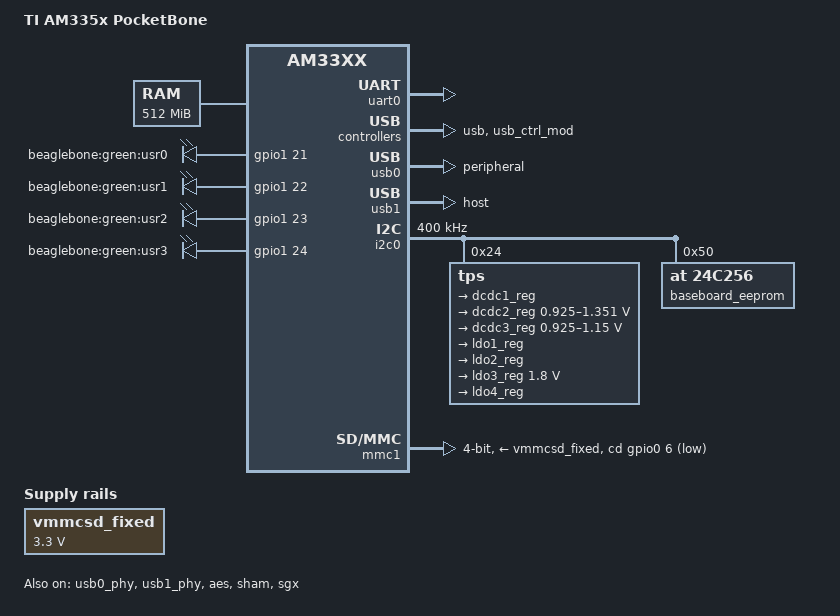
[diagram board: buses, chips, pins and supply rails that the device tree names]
/*
 * Copyright (C) 2012 Texas Instruments Incorporated - http://www.ti.com/
 *
 * This program is free software; you can redistribute it and/or modify
 * it under the terms of the GNU General Public License version 2 as
 * published by the Free Software Foundation.
 */
/dts-v1/;

#include "am33xx.dtsi"

/ {
	model = "TI AM335x PocketBone";
	compatible = "ti,am335x-pocketbone", "ti,am335x-bone", "ti,am33xx";
};

/ {
	cpus {
		cpu@0 {
			cpu0-supply = <&dcdc2_reg>;
		};
	};

	memory {
		device_type = "memory";
		reg = <0x80000000 0x20000000>; /* 512 MB */
	};

	leds {
		pinctrl-names = "default", "sleep";
		pinctrl-0 = <&user_leds_default>;
		pinctrl-1 = <&user_leds_sleep>;

		compatible = "gpio-leds";

		led@2 {
			label = "beaglebone:green:usr0";
			gpios = <&gpio1 21 GPIO_ACTIVE_HIGH>;
			linux,default-trigger = "heartbeat";
			default-state = "off";
		};

		led@3 {
			label = "beaglebone:green:usr1";
			gpios = <&gpio1 22 GPIO_ACTIVE_HIGH>;
			linux,default-trigger = "mmc0";
			default-state = "off";
		};

		led@4 {
			label = "beaglebone:green:usr2";
			gpios = <&gpio1 23 GPIO_ACTIVE_HIGH>;
			linux,default-trigger = "cpu0";
			default-state = "off";
		};

		led@5 {
			label = "beaglebone:green:usr3";
			gpios = <&gpio1 24 GPIO_ACTIVE_HIGH>;
			linux,default-trigger = "mmc1";
			default-state = "off";
		};
	};

	vmmcsd_fixed: fixedregulator@0 {
		compatible = "regulator-fixed";
		regulator-name = "vmmcsd_fixed";
		regulator-min-microvolt = <3300000>;
		regulator-max-microvolt = <3300000>;
	};
};

&am33xx_pinmux {
	user_leds_default: user_leds_default {
		pinctrl-single,pins = <
			AM33XX_IOPAD(0x854, PIN_OUTPUT_PULLDOWN | MUX_MODE7)	/* gpmc_a5.gpio1_21 */
			AM33XX_IOPAD(0x858, PIN_OUTPUT_PULLUP | MUX_MODE7)	/* gpmc_a6.gpio1_22 */
			AM33XX_IOPAD(0x85c, PIN_OUTPUT_PULLDOWN | MUX_MODE7)	/* gpmc_a7.gpio1_23 */
			AM33XX_IOPAD(0x860, PIN_OUTPUT_PULLUP | MUX_MODE7)	/* gpmc_a8.gpio1_24 */
		>;
	};

	user_leds_sleep: user_leds_sleep {
		pinctrl-single,pins = <
			AM33XX_IOPAD(0x854, PIN_INPUT_PULLDOWN | MUX_MODE7)	/* gpmc_a5.gpio1_21 */
			AM33XX_IOPAD(0x858, PIN_INPUT_PULLDOWN | MUX_MODE7)	/* gpmc_a6.gpio1_22 */
			AM33XX_IOPAD(0x85c, PIN_INPUT_PULLDOWN | MUX_MODE7)	/* gpmc_a7.gpio1_23 */
			AM33XX_IOPAD(0x860, PIN_INPUT_PULLDOWN | MUX_MODE7)	/* gpmc_a8.gpio1_24 */
		>;
	};

	i2c0_pins: pinmux_i2c0_pins {
		pinctrl-single,pins = <
			AM33XX_IOPAD(0x988, PIN_INPUT_PULLUP | MUX_MODE0)	/* i2c0_sda.i2c0_sda */
			AM33XX_IOPAD(0x98c, PIN_INPUT_PULLUP | MUX_MODE0)	/* i2c0_scl.i2c0_scl */
		>;
	};

	uart0_pins: pinmux_uart0_pins {
		pinctrl-single,pins = <
			AM33XX_IOPAD(0x970, PIN_INPUT_PULLUP | MUX_MODE0)	/* uart0_rxd.uart0_rxd */
			AM33XX_IOPAD(0x974, PIN_OUTPUT_PULLDOWN | MUX_MODE0)	/* uart0_txd.uart0_txd */
		>;
	};

	mmc1_pins: pinmux_mmc1_pins {
		pinctrl-single,pins = <
			AM33XX_IOPAD(0x960, PIN_INPUT | MUX_MODE7) /* GPIO0_6 */
		>;
	};
};

&uart0 {
	pinctrl-names = "default";
	pinctrl-0 = <&uart0_pins>;

	status = "okay";
};

&usb {
	status = "okay";
};

&usb_ctrl_mod {
	status = "okay";
};

&usb0_phy {
	status = "okay";
};

&usb1_phy {
	status = "okay";
};

&usb0 {
	status = "okay";
	dr_mode = "peripheral";
};

&usb1 {
	status = "okay";
	dr_mode = "host";
};

&cppi41dma  {
	status = "okay";
};

&i2c0 {
	pinctrl-names = "default";
	pinctrl-0 = <&i2c0_pins>;

	status = "okay";
	clock-frequency = <400000>;

	tps: tps@24 {
		reg = <0x24>;
	};

	baseboard_eeprom: baseboard_eeprom@50 {
		compatible = "at,24c256";
		reg = <0x50>;

		#address-cells = <1>;
		#size-cells = <1>;
		baseboard_data: baseboard_data@0 {
			reg = <0 0x100>;
		};
	};
};

/include/ "tps65217.dtsi"

&tps {
	/*
	 * Configure pmic to enter OFF-state instead of SLEEP-state ("RTC-only
	 * mode") at poweroff.  Most BeagleBone versions do not support RTC-only
	 * mode and risk hardware damage if this mode is entered.
	 *
	 * For details, see linux-omap mailing list May 2015 thread
	 *	[PATCH] ARM: dts: am335x-bone* enable pmic-shutdown-controller
	 * In particular, messages:
	 *	http://www.spinics.net/lists/linux-omap/msg118585.html
	 *	http://www.spinics.net/lists/linux-omap/msg118615.html
	 *
	 * You can override this later with
	 *	&tps {  /delete-property/ ti,pmic-shutdown-controller;  }
	 * if you want to use RTC-only mode and made sure you are not affected
	 * by the hardware problems. (Tip: double-check by performing a current
	 * measurement after shutdown: it should be less than 1 mA.)
	 */
	ti,pmic-shutdown-controller;

	interrupt-parent = <&intc>;
	interrupts = <7>;	/* NNMI */

	regulators {
		dcdc1_reg: regulator@0 {
			regulator-name = "vdds_dpr";
			regulator-always-on;
		};

		dcdc2_reg: regulator@1 {
			/* VDD_MPU voltage limits 0.95V - 1.26V with +/-4% tolerance */
			regulator-name = "vdd_mpu";
			regulator-min-microvolt = <925000>;
			regulator-max-microvolt = <1351500>;
			regulator-boot-on;
			regulator-always-on;
		};

		dcdc3_reg: regulator@2 {
			/* VDD_CORE voltage limits 0.95V - 1.1V with +/-4% tolerance */
			regulator-name = "vdd_core";
			regulator-min-microvolt = <925000>;
			regulator-max-microvolt = <1150000>;
			regulator-boot-on;
			regulator-always-on;
		};

		ldo1_reg: regulator@3 {
			regulator-name = "vio,vrtc,vdds";
			regulator-always-on;
		};

		ldo2_reg: regulator@4 {
			regulator-name = "vdd_3v3aux";
			regulator-always-on;
		};

		ldo3_reg: regulator@5 {
			regulator-name = "vdd_1v8";
			regulator-always-on;
		};

		ldo4_reg: regulator@6 {
			regulator-name = "vdd_3v3a";
			regulator-always-on;
		};
	};
};

&mmc1 {
	status = "okay";
	bus-width = <0x4>;
	pinctrl-names = "default";
	pinctrl-0 = <&mmc1_pins>;
	cd-gpios = <&gpio0 6 GPIO_ACTIVE_LOW>;
};

&aes {
	status = "okay";
};

&sham {
	status = "okay";
};

&wkup_m3_ipc {
	ti,scale-data-fw = "am335x-bone-scale-data.bin";
};

&rtc {
	clocks = <&clk_32768_ck>, <&clkdiv32k_ick>;
	clock-names = "ext-clk", "int-clk";
	system-power-controller;
};

&sgx {
	status = "okay";
};

&ldo3_reg {
	regulator-min-microvolt = <1800000>;
	regulator-max-microvolt = <1800000>;
	regulator-always-on;
};

&mmc1 {
	vmmc-supply = <&vmmcsd_fixed>;
};

&cpu0_opp_table {
	/*
	 * All PG 2.0 silicon may not support 1GHz but some of the early
	 * BeagleBone Blacks have PG 2.0 silicon which is guaranteed
	 * to support 1GHz OPP so enable it for PG 2.0 on this board.
	 */
	oppnitro@1000000000 {
		opp-supported-hw = <0x06 0x0100>;
	};
};

#include "am335x-bone-pinmux-spi0.dtsi"

